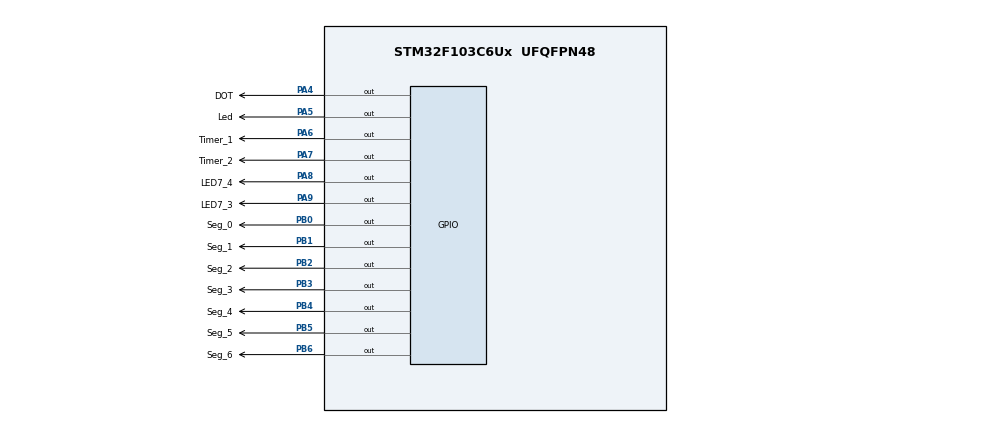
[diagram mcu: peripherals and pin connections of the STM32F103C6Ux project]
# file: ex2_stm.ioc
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Mcu.Family=STM32F1
Mcu.Name=STM32F103C6Ux
Mcu.Package=UFQFPN48
NVIC.PriorityGroup=NVIC_PRIORITYGROUP_4
NVIC.TIM2_IRQn=true\:0\:0\:false\:false\:true\:true\:true
PA4.GPIO_Label=DOT
PA4.Signal=GPIO_Output
PA5.GPIO_Label=Led
PA5.Signal=GPIO_Output
PA6.GPIO_Label=Timer_1
PA6.Signal=GPIO_Output
PA7.GPIO_Label=Timer_2
PA7.Signal=GPIO_Output
PA8.GPIO_Label=LED7_4
PA8.Signal=GPIO_Output
PA9.GPIO_Label=LED7_3
PA9.Signal=GPIO_Output
PB0.GPIO_Label=Seg_0
PB0.Signal=GPIO_Output
PB1.GPIO_Label=Seg_1
PB1.Signal=GPIO_Output
PB2.GPIO_Label=Seg_2
PB2.Signal=GPIO_Output
PB3.GPIO_Label=Seg_3
PB3.Signal=GPIO_Output
PB4.GPIO_Label=Seg_4
PB4.Signal=GPIO_Output
PB5.GPIO_Label=Seg_5
PB5.Signal=GPIO_Output
PB6.GPIO_Label=Seg_6
PB6.Signal=GPIO_Output
ProjectManager.HeapSize=0x200
ProjectManager.StackSize=0x400
ProjectManager.TargetToolchain=STM32CubeIDE
RCC.APB1Freq_Value=8000000
RCC.APB2Freq_Value=8000000
TIM2.Period=9
TIM2.Prescaler=7999
VP_SYS_VS_ND.Mode=No_Debug
VP_TIM2_VS_ClockSourceINT.Mode=Internal
board=custom

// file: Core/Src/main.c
/* USER CODE BEGIN Header */
/**
  ******************************************************************************
  * @file           : main.c
  * @brief          : Main program body
  ******************************************************************************
  * @attention
  *
  * <h2><center>&copy; Copyright (c) 2023 STMicroelectronics.
  * All rights reserved.</center></h2>
  *
  * This software component is licensed by ST under BSD 3-Clause license,
  * the "License"; You may not use this file except in compliance with the
  * License. You may obtain a copy of the License at:
  *                        opensource.org/licenses/BSD-3-Clause
  *
  ******************************************************************************
  */
/* USER CODE END Header */
#include "main.h"

TIM_HandleTypeDef htim2;

void SystemClock_Config(void);
static void MX_GPIO_Init(void);
static void MX_TIM2_Init(void);

int main(void)
{

  /* MCU Configuration--------------------------------------------------------*/

  /* Reset of all peripherals, Initializes the Flash interface and the Systick. */
  HAL_Init();

  /* Configure the system clock */
  SystemClock_Config();

  /* Initialize all configured peripherals */
  MX_GPIO_Init();
  MX_TIM2_Init();
  /* USER CODE BEGIN 2 */
  HAL_TIM_Base_Start_IT (& htim2 ) ;
  /* USER CODE END 2 */

  /* Infinite loop */
  while (1)
  {

  }
}

void SystemClock_Config(void)
{
  RCC_OscInitTypeDef RCC_OscInitStruct = {0};
  RCC_ClkInitTypeDef RCC_ClkInitStruct = {0};

  /** Initializes the RCC Oscillators according to the specified parameters
  * in the RCC_OscInitTypeDef structure.
  */
  RCC_OscInitStruct.OscillatorType = RCC_OSCILLATORTYPE_HSI;
  RCC_OscInitStruct.HSIState = RCC_HSI_ON;
  RCC_OscInitStruct.HSICalibrationValue = RCC_HSICALIBRATION_DEFAULT;
  RCC_OscInitStruct.PLL.PLLState = RCC_PLL_NONE;
  if (HAL_RCC_OscConfig(&RCC_OscInitStruct) != HAL_OK)
  {
    Error_Handler();
  }
  /** Initializes the CPU, AHB and APB buses clocks
  */
  RCC_ClkInitStruct.ClockType = RCC_CLOCKTYPE_HCLK|RCC_CLOCKTYPE_SYSCLK
                              |RCC_CLOCKTYPE_PCLK1|RCC_CLOCKTYPE_PCLK2;
  RCC_ClkInitStruct.SYSCLKSource = RCC_SYSCLKSOURCE_HSI;
  RCC_ClkInitStruct.AHBCLKDivider = RCC_SYSCLK_DIV1;
  RCC_ClkInitStruct.APB1CLKDivider = RCC_HCLK_DIV1;
  RCC_ClkInitStruct.APB2CLKDivider = RCC_HCLK_DIV1;

  if (HAL_RCC_ClockConfig(&RCC_ClkInitStruct, FLASH_LATENCY_0) != HAL_OK)
  {
    Error_Handler();
  }
}

static void MX_TIM2_Init(void)
{

  TIM_ClockConfigTypeDef sClockSourceConfig = {0};
  TIM_MasterConfigTypeDef sMasterConfig = {0};

  htim2.Instance = TIM2;
  htim2.Init.Prescaler = 7999;
  htim2.Init.CounterMode = TIM_COUNTERMODE_UP;
  htim2.Init.Period = 9;
  htim2.Init.ClockDivision = TIM_CLOCKDIVISION_DIV1;
  htim2.Init.AutoReloadPreload = TIM_AUTORELOAD_PRELOAD_DISABLE;
  if (HAL_TIM_Base_Init(&htim2) != HAL_OK)
  {
    Error_Handler();
  }
  sClockSourceConfig.ClockSource = TIM_CLOCKSOURCE_INTERNAL;
  if (HAL_TIM_ConfigClockSource(&htim2, &sClockSourceConfig) != HAL_OK)
  {
    Error_Handler();
  }
  sMasterConfig.MasterOutputTrigger = TIM_TRGO_RESET;
  sMasterConfig.MasterSlaveMode = TIM_MASTERSLAVEMODE_DISABLE;
  if (HAL_TIMEx_MasterConfigSynchronization(&htim2, &sMasterConfig) != HAL_OK)
  {
    Error_Handler();
  }

}

static void MX_GPIO_Init(void)
{
  GPIO_InitTypeDef GPIO_InitStruct = {0};

  /* GPIO Ports Clock Enable */
  __HAL_RCC_GPIOA_CLK_ENABLE();
  __HAL_RCC_GPIOB_CLK_ENABLE();

  /*Configure GPIO pin Output Level */
  HAL_GPIO_WritePin(GPIOA, DOT_Pin|Led_Pin|Timer_1_Pin|Timer_2_Pin
                          |LED7_4_Pin|LED7_3_Pin, GPIO_PIN_RESET);

  /*Configure GPIO pin Output Level */
  HAL_GPIO_WritePin(GPIOB, Seg_0_Pin|Seg_1_Pin|Seg_2_Pin|Seg_3_Pin
                          |Seg_4_Pin|Seg_5_Pin|Seg_6_Pin, GPIO_PIN_RESET);

  /*Configure GPIO pins : DOT_Pin Led_Pin Timer_1_Pin Timer_2_Pin
                           LED7_4_Pin LED7_3_Pin */
  GPIO_InitStruct.Pin = DOT_Pin|Led_Pin|Timer_1_Pin|Timer_2_Pin
                          |LED7_4_Pin|LED7_3_Pin;
  GPIO_InitStruct.Mode = GPIO_MODE_OUTPUT_PP;
  GPIO_InitStruct.Pull = GPIO_NOPULL;
  GPIO_InitStruct.Speed = GPIO_SPEED_FREQ_LOW;
  HAL_GPIO_Init(GPIOA, &GPIO_InitStruct);

  /*Configure GPIO pins : Seg_0_Pin Seg_1_Pin Seg_2_Pin Seg_3_Pin
                           Seg_4_Pin Seg_5_Pin Seg_6_Pin */
  GPIO_InitStruct.Pin = Seg_0_Pin|Seg_1_Pin|Seg_2_Pin|Seg_3_Pin
                          |Seg_4_Pin|Seg_5_Pin|Seg_6_Pin;
  GPIO_InitStruct.Mode = GPIO_MODE_OUTPUT_PP;
  GPIO_InitStruct.Pull = GPIO_NOPULL;
  GPIO_InitStruct.Speed = GPIO_SPEED_FREQ_LOW;
  HAL_GPIO_Init(GPIOB, &GPIO_InitStruct);

}

/* USER CODE BEGIN 4 */
void display7SEG(int num ) {

	HAL_GPIO_WritePin ( GPIOB , GPIO_PIN_0|GPIO_PIN_1|GPIO_PIN_2|GPIO_PIN_3|GPIO_PIN_4|GPIO_PIN_5|GPIO_PIN_6 , GPIO_PIN_SET ) ;
	switch (num) {
        case 0:
        	HAL_GPIO_WritePin ( GPIOB , GPIO_PIN_0|GPIO_PIN_1|GPIO_PIN_2|GPIO_PIN_3|GPIO_PIN_4|GPIO_PIN_5 , GPIO_PIN_RESET ) ;
            break;
        case 1:
        	HAL_GPIO_WritePin ( GPIOB , GPIO_PIN_1|GPIO_PIN_2 , GPIO_PIN_RESET ) ;
            break;
        case 2:
        	HAL_GPIO_WritePin ( GPIOB , GPIO_PIN_0|GPIO_PIN_1|GPIO_PIN_3|GPIO_PIN_4|GPIO_PIN_6 , GPIO_PIN_RESET ) ;
            break;
        case 3:
        	HAL_GPIO_WritePin ( GPIOB , GPIO_PIN_0|GPIO_PIN_1|GPIO_PIN_2|GPIO_PIN_3|GPIO_PIN_6 , GPIO_PIN_RESET ) ;
            break;
        case 4:
        	HAL_GPIO_WritePin ( GPIOB , GPIO_PIN_1|GPIO_PIN_2|GPIO_PIN_5|GPIO_PIN_6 , GPIO_PIN_RESET ) ;
            break;
        case 5:
        	HAL_GPIO_WritePin ( GPIOB , GPIO_PIN_0|GPIO_PIN_2|GPIO_PIN_3|GPIO_PIN_5|GPIO_PIN_6 , GPIO_PIN_RESET ) ;
            break;
        case 6:
        	HAL_GPIO_WritePin ( GPIOB , GPIO_PIN_0|GPIO_PIN_2|GPIO_PIN_3|GPIO_PIN_4|GPIO_PIN_5|GPIO_PIN_6 , GPIO_PIN_RESET ) ;
            break;
        case 7:
        	HAL_GPIO_WritePin ( GPIOB , GPIO_PIN_0|GPIO_PIN_1|GPIO_PIN_2, GPIO_PIN_RESET ) ;
            break;
        case 8:
        	HAL_GPIO_WritePin ( GPIOB , GPIO_PIN_0|GPIO_PIN_1|GPIO_PIN_2|GPIO_PIN_3|GPIO_PIN_4|GPIO_PIN_5|GPIO_PIN_6 , GPIO_PIN_RESET ) ;
            break;
        case 9:
        	HAL_GPIO_WritePin ( GPIOB , GPIO_PIN_0|GPIO_PIN_1|GPIO_PIN_2|GPIO_PIN_3|GPIO_PIN_5|GPIO_PIN_6 , GPIO_PIN_RESET ) ;
            break;

    }
}

int counter_LEDRED = 100;
int counter_LED7SEG = 50;
int state = 1;
void HAL_TIM_PeriodElapsedCallback ( TIM_HandleTypeDef * htim )
{
	 if(counter_LEDRED>0) counter_LEDRED--;
	 if(counter_LEDRED<=0) {
		 counter_LEDRED = 100;
		 HAL_GPIO_TogglePin ( GPIOA , GPIO_PIN_5 ) ;
		 HAL_GPIO_TogglePin ( GPIOA , GPIO_PIN_4 ) ;
	 }
	 if(counter_LED7SEG>0) counter_LED7SEG--;
	 if ( counter_LED7SEG<=0) {
		 counter_LED7SEG = 50;
	     switch ( state ) {
	         case 1:
				HAL_GPIO_WritePin(GPIOA, GPIO_PIN_6, GPIO_PIN_RESET);
				HAL_GPIO_WritePin(GPIOA, GPIO_PIN_7, GPIO_PIN_SET);
				HAL_GPIO_WritePin(GPIOA, GPIO_PIN_8, GPIO_PIN_SET);
				HAL_GPIO_WritePin(GPIOA, GPIO_PIN_9, GPIO_PIN_SET);
				display7SEG(1);
				state = 2;
                break;
	         case 2:
				HAL_GPIO_WritePin(GPIOA, GPIO_PIN_6, GPIO_PIN_SET);
				HAL_GPIO_WritePin(GPIOA, GPIO_PIN_7, GPIO_PIN_RESET);
				HAL_GPIO_WritePin(GPIOA, GPIO_PIN_8, GPIO_PIN_SET);
				HAL_GPIO_WritePin(GPIOA, GPIO_PIN_9, GPIO_PIN_SET);
				display7SEG(2);
				state = 3;
				break;
	         case 3:
				HAL_GPIO_WritePin(GPIOA, GPIO_PIN_6, GPIO_PIN_SET);
				HAL_GPIO_WritePin(GPIOA, GPIO_PIN_7, GPIO_PIN_SET);
				HAL_GPIO_WritePin(GPIOA, GPIO_PIN_8, GPIO_PIN_RESET);
				HAL_GPIO_WritePin(GPIOA, GPIO_PIN_9, GPIO_PIN_SET);
				display7SEG(3);
				state = 4;
				break;
	         case 4:
				HAL_GPIO_WritePin(GPIOA, GPIO_PIN_6, GPIO_PIN_SET);
				HAL_GPIO_WritePin(GPIOA, GPIO_PIN_7, GPIO_PIN_SET);
				HAL_GPIO_WritePin(GPIOA, GPIO_PIN_8, GPIO_PIN_SET);
				HAL_GPIO_WritePin(GPIOA, GPIO_PIN_9, GPIO_PIN_RESET);
				display7SEG(0);
				state = 1;
				break;
	         default:
	        	 break;
	     }
    }
}

/* USER CODE END 4 */

void Error_Handler(void)
{
  __disable_irq();
  while (1)
  {
  }
}

/************************ (C) COPYRIGHT STMicroelectronics *****END OF FILE****/
